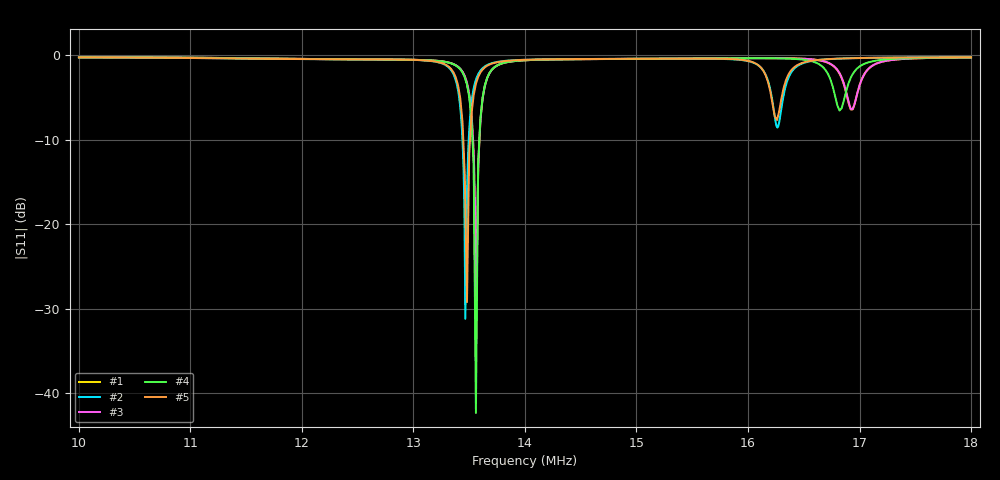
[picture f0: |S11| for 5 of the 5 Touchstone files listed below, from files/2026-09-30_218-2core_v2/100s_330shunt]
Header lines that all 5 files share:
! NanoVNA Web complex sweep
# Hz S RI R 50
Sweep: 10 MHz to 18 MHz
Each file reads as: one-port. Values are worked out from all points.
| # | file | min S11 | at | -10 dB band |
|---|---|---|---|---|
| 1 | 2026-09-30_AIT_T1.24_L0.91_218_CD_100s_3x100+30p_POST-100W_renmatch_nanovna-sweep-1790805703135.s1p | -36.3 dB | 13.56 MHz | 60.71 kHz wide |
| 2 | 2026-09-30_AIT_T1.47_L1.23_218_CD_100s_3x100+30p_POST-100W_10-18M_nanovna-sweep-1790805627923.s1p | -31.2 dB | 13.46 MHz | 56.34 kHz wide |
| 3 | 2026-09-30_NET_218_CD_100s_3x100+30p_10-18M_POST-100W_nanovna-sweep-1790805931519.s1p | -29.1 dB | 13.56 MHz | 56.75 kHz wide |
| 4 | POST100W_AIT_T1.27_L0.95_2core-218-mat67_100ser_330sh_nanovna-sweep-1790871990856.s1p | -42.4 dB | 13.56 MHz | 61.36 kHz wide |
| 5 | POST100W_AIT_T1.47_L1.24_2core-218-mat67_nanovna-sweep-1790871905818.s1p | -29.2 dB | 13.48 MHz | 60.4 kHz wide |
